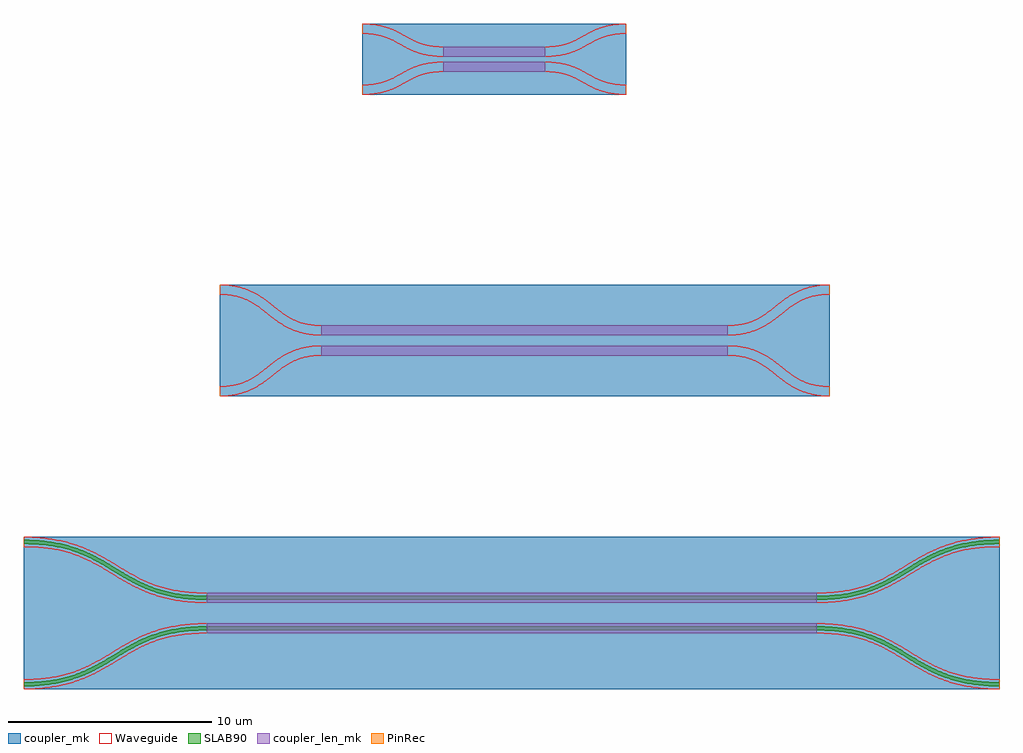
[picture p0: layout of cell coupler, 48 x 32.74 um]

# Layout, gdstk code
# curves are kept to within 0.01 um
import gdstk
lib = gdstk.Library(unit=1e-6, precision=1e-09)
def R(c, l, rs):  # rectangles x0, y0, x1, y1
    for r in rs: c.add(gdstk.rectangle(r[:2], r[2:], *l))
def P(c, l, *ps):  # polygons
    for p in ps: c.add(gdstk.Polygon(p, *l))
Waveguide = (1, 0)
coupler_mk = (1, 6)
coupler_len_mk = (1, 7)
PinRec = (1, 10)
SLAB90 = (3, 0)

coupler_1 = lib.new_cell('coupler$1')
R(coupler_1, Waveguide, [(0,-0.25,20,0.25), (0,-0.25,20,0.25), (0,-0.25,20,0.25), (0,-0.25,20,0.25), (0,0.75,20,1.25), (0,0.75,20,1.25), (0,0.75,20,1.25), (0,0.75,20,1.25)])
P(coupler_1, Waveguide, [(-5,-2.25),(-5,-1.75),(-4.658,-1.736),(-4.296,-1.685),(-3.975,-1.602),(-3.646,-1.473),(-3.39,-1.337),(-3.152,-1.184),(-2.342,-0.558),(-2.045,-0.346),(-1.72,-0.151),(-1.406,-0.004),(-1.058,0.115),(-0.736,0.188),(-0.386,0.234),(0,0.25),(0,-0.25),(-0.342,-0.264),(-0.704,-0.315),(-1.025,-0.398),(-1.354,-0.527),(-1.61,-0.663),(-1.848,-0.816),(-2.658,-1.442),(-2.955,-1.654),(-3.28,-1.849),(-3.594,-1.996),(-3.942,-2.115),(-4.264,-2.188),(-4.614,-2.234)],
  [(0,0.75),(-0.386,0.766),(-0.736,0.812),(-1.058,0.885),(-1.406,1.004),(-1.72,1.151),(-2.045,1.346),(-2.342,1.558),(-3.152,2.184),(-3.39,2.337),(-3.646,2.473),(-3.975,2.602),(-4.296,2.685),(-4.658,2.736),(-5,2.75),(-5,3.25),(-4.614,3.234),(-4.264,3.188),(-3.942,3.115),(-3.594,2.996),(-3.28,2.849),(-2.955,2.654),(-2.658,2.442),(-1.848,1.816),(-1.61,1.663),(-1.354,1.527),(-1.025,1.398),(-0.704,1.315),(-0.342,1.264),(0,1.25)],
  [(20,0.75),(20,1.25),(20.342,1.264),(20.704,1.315),(21.025,1.398),(21.354,1.527),(21.61,1.663),(21.848,1.816),(22.658,2.442),(22.955,2.654),(23.28,2.849),(23.594,2.996),(23.942,3.115),(24.264,3.188),(24.614,3.234),(25,3.25),(25,2.75),(24.658,2.736),(24.296,2.685),(23.975,2.602),(23.646,2.473),(23.39,2.337),(23.152,2.184),(22.342,1.558),(22.045,1.346),(21.72,1.151),(21.406,1.004),(21.058,0.885),(20.736,0.812),(20.386,0.766)],
  [(25,-2.25),(24.614,-2.234),(24.264,-2.188),(23.942,-2.115),(23.594,-1.996),(23.28,-1.849),(22.955,-1.654),(22.658,-1.442),(21.848,-0.816),(21.61,-0.663),(21.354,-0.527),(21.025,-0.398),(20.704,-0.315),(20.342,-0.264),(20,-0.25),(20,0.25),(20.386,0.234),(20.736,0.188),(21.058,0.115),(21.406,-0.004),(21.72,-0.151),(22.045,-0.346),(22.342,-0.558),(23.152,-1.184),(23.39,-1.337),(23.646,-1.473),(23.975,-1.602),(24.296,-1.685),(24.658,-1.736),(25,-1.75)],
  [(-5,-2.25),(-5,-1.75),(-4.658,-1.736),(-4.296,-1.685),(-3.975,-1.602),(-3.646,-1.473),(-3.39,-1.337),(-3.152,-1.184),(-2.342,-0.558),(-2.045,-0.346),(-1.72,-0.151),(-1.406,-0.004),(-1.058,0.115),(-0.736,0.188),(-0.386,0.234),(0,0.25),(0,-0.25),(-0.342,-0.264),(-0.704,-0.315),(-1.025,-0.398),(-1.354,-0.527),(-1.61,-0.663),(-1.848,-0.816),(-2.658,-1.442),(-2.955,-1.654),(-3.28,-1.849),(-3.594,-1.996),(-3.942,-2.115),(-4.264,-2.188),(-4.614,-2.234)],
  [(0,0.75),(-0.386,0.766),(-0.736,0.812),(-1.058,0.885),(-1.406,1.004),(-1.72,1.151),(-2.045,1.346),(-2.342,1.558),(-3.152,2.184),(-3.39,2.337),(-3.646,2.473),(-3.975,2.602),(-4.296,2.685),(-4.658,2.736),(-5,2.75),(-5,3.25),(-4.614,3.234),(-4.264,3.188),(-3.942,3.115),(-3.594,2.996),(-3.28,2.849),(-2.955,2.654),(-2.658,2.442),(-1.848,1.816),(-1.61,1.663),(-1.354,1.527),(-1.025,1.398),(-0.704,1.315),(-0.342,1.264),(0,1.25)],
  [(20,0.75),(20,1.25),(20.342,1.264),(20.704,1.315),(21.025,1.398),(21.354,1.527),(21.61,1.663),(21.848,1.816),(22.658,2.442),(22.955,2.654),(23.28,2.849),(23.594,2.996),(23.942,3.115),(24.264,3.188),(24.614,3.234),(25,3.25),(25,2.75),(24.658,2.736),(24.296,2.685),(23.975,2.602),(23.646,2.473),(23.39,2.337),(23.152,2.184),(22.342,1.558),(22.045,1.346),(21.72,1.151),(21.406,1.004),(21.058,0.885),(20.736,0.812),(20.386,0.766)],
  [(25,-2.25),(24.614,-2.234),(24.264,-2.188),(23.942,-2.115),(23.594,-1.996),(23.28,-1.849),(22.955,-1.654),(22.658,-1.442),(21.848,-0.816),(21.61,-0.663),(21.354,-0.527),(21.025,-0.398),(20.704,-0.315),(20.342,-0.264),(20,-0.25),(20,0.25),(20.386,0.234),(20.736,0.188),(21.058,0.115),(21.406,-0.004),(21.72,-0.151),(22.045,-0.346),(22.342,-0.558),(23.152,-1.184),(23.39,-1.337),(23.646,-1.473),(23.975,-1.602),(24.296,-1.685),(24.658,-1.736),(25,-1.75)],
  [(-5,-2.25),(-5,-1.75),(-4.658,-1.736),(-4.296,-1.685),(-3.975,-1.602),(-3.646,-1.473),(-3.39,-1.337),(-3.152,-1.184),(-2.342,-0.558),(-2.045,-0.346),(-1.72,-0.151),(-1.406,-0.004),(-1.058,0.115),(-0.736,0.188),(-0.386,0.234),(0,0.25),(0,-0.25),(-0.342,-0.264),(-0.704,-0.315),(-1.025,-0.398),(-1.354,-0.527),(-1.61,-0.663),(-1.848,-0.816),(-2.658,-1.442),(-2.955,-1.654),(-3.28,-1.849),(-3.594,-1.996),(-3.942,-2.115),(-4.264,-2.188),(-4.614,-2.234)],
  [(0,0.75),(-0.386,0.766),(-0.736,0.812),(-1.058,0.885),(-1.406,1.004),(-1.72,1.151),(-2.045,1.346),(-2.342,1.558),(-3.152,2.184),(-3.39,2.337),(-3.646,2.473),(-3.975,2.602),(-4.296,2.685),(-4.658,2.736),(-5,2.75),(-5,3.25),(-4.614,3.234),(-4.264,3.188),(-3.942,3.115),(-3.594,2.996),(-3.28,2.849),(-2.955,2.654),(-2.658,2.442),(-1.848,1.816),(-1.61,1.663),(-1.354,1.527),(-1.025,1.398),(-0.704,1.315),(-0.342,1.264),(0,1.25)],
  [(20,0.75),(20,1.25),(20.342,1.264),(20.704,1.315),(21.025,1.398),(21.354,1.527),(21.61,1.663),(21.848,1.816),(22.658,2.442),(22.955,2.654),(23.28,2.849),(23.594,2.996),(23.942,3.115),(24.264,3.188),(24.614,3.234),(25,3.25),(25,2.75),(24.658,2.736),(24.296,2.685),(23.975,2.602),(23.646,2.473),(23.39,2.337),(23.152,2.184),(22.342,1.558),(22.045,1.346),(21.72,1.151),(21.406,1.004),(21.058,0.885),(20.736,0.812),(20.386,0.766)],
  [(25,-2.25),(24.614,-2.234),(24.264,-2.188),(23.942,-2.115),(23.594,-1.996),(23.28,-1.849),(22.955,-1.654),(22.658,-1.442),(21.848,-0.816),(21.61,-0.663),(21.354,-0.527),(21.025,-0.398),(20.704,-0.315),(20.342,-0.264),(20,-0.25),(20,0.25),(20.386,0.234),(20.736,0.188),(21.058,0.115),(21.406,-0.004),(21.72,-0.151),(22.045,-0.346),(22.342,-0.558),(23.152,-1.184),(23.39,-1.337),(23.646,-1.473),(23.975,-1.602),(24.296,-1.685),(24.658,-1.736),(25,-1.75)],
  [(-5,-2.25),(-5,-1.75),(-4.658,-1.736),(-4.296,-1.685),(-3.975,-1.602),(-3.646,-1.473),(-3.39,-1.337),(-3.152,-1.184),(-2.342,-0.558),(-2.045,-0.346),(-1.72,-0.151),(-1.406,-0.004),(-1.058,0.115),(-0.736,0.188),(-0.386,0.234),(0,0.25),(0,-0.25),(-0.342,-0.264),(-0.704,-0.315),(-1.025,-0.398),(-1.354,-0.527),(-1.61,-0.663),(-1.848,-0.816),(-2.658,-1.442),(-2.955,-1.654),(-3.28,-1.849),(-3.594,-1.996),(-3.942,-2.115),(-4.264,-2.188),(-4.614,-2.234)],
  [(0,0.75),(-0.386,0.766),(-0.736,0.812),(-1.058,0.885),(-1.406,1.004),(-1.72,1.151),(-2.045,1.346),(-2.342,1.558),(-3.152,2.184),(-3.39,2.337),(-3.646,2.473),(-3.975,2.602),(-4.296,2.685),(-4.658,2.736),(-5,2.75),(-5,3.25),(-4.614,3.234),(-4.264,3.188),(-3.942,3.115),(-3.594,2.996),(-3.28,2.849),(-2.955,2.654),(-2.658,2.442),(-1.848,1.816),(-1.61,1.663),(-1.354,1.527),(-1.025,1.398),(-0.704,1.315),(-0.342,1.264),(0,1.25)],
  [(20,0.75),(20,1.25),(20.342,1.264),(20.704,1.315),(21.025,1.398),(21.354,1.527),(21.61,1.663),(21.848,1.816),(22.658,2.442),(22.955,2.654),(23.28,2.849),(23.594,2.996),(23.942,3.115),(24.264,3.188),(24.614,3.234),(25,3.25),(25,2.75),(24.658,2.736),(24.296,2.685),(23.975,2.602),(23.646,2.473),(23.39,2.337),(23.152,2.184),(22.342,1.558),(22.045,1.346),(21.72,1.151),(21.406,1.004),(21.058,0.885),(20.736,0.812),(20.386,0.766)],
  [(25,-2.25),(24.614,-2.234),(24.264,-2.188),(23.942,-2.115),(23.594,-1.996),(23.28,-1.849),(22.955,-1.654),(22.658,-1.442),(21.848,-0.816),(21.61,-0.663),(21.354,-0.527),(21.025,-0.398),(20.704,-0.315),(20.342,-0.264),(20,-0.25),(20,0.25),(20.386,0.234),(20.736,0.188),(21.058,0.115),(21.406,-0.004),(21.72,-0.151),(22.045,-0.346),(22.342,-0.558),(23.152,-1.184),(23.39,-1.337),(23.646,-1.473),(23.975,-1.602),(24.296,-1.685),(24.658,-1.736),(25,-1.75)])
R(coupler_1, coupler_mk, [(-5,-2.25,25,3.25)])
R(coupler_1, coupler_len_mk, [(0,-0.25,20,0.25), (0,0.75,20,1.25)])
R(coupler_1, PinRec, [(-5,-2.25,-4.98,-1.75), (24.98,-2.25,25,-1.75), (-5,2.75,-4.98,3.25), (24.98,2.75,25,3.25)])

coupler_2 = lib.new_cell('coupler$2')
R(coupler_2, Waveguide, [(0,-0.25,5,0.25), (0,-0.25,5,0.25), (0,-0.25,5,0.25), (0,-0.25,5,0.25), (0,0.5,5,1), (0,0.5,5,1), (0,0.5,5,1), (0,0.5,5,1)])
P(coupler_2, Waveguide, [(-4,-1.375),(-4,-0.875),(-3.672,-0.864),(-3.387,-0.832),(-2.908,-0.718),(-2.517,-0.557),(-1.631,-0.085),(-1.367,0.026),(-1.076,0.12),(-0.637,0.209),(-0.307,0.242),(0,0.25),(0,-0.25),(-0.328,-0.261),(-0.613,-0.293),(-1.092,-0.407),(-1.483,-0.568),(-2.369,-1.04),(-2.633,-1.151),(-2.924,-1.245),(-3.363,-1.334),(-3.693,-1.367)],
  [(-0.063,0.5),(-0.637,0.541),(-1.076,0.63),(-1.367,0.724),(-1.631,0.835),(-2.517,1.307),(-2.908,1.468),(-3.387,1.582),(-3.672,1.614),(-4,1.625),(-4,2.125),(-3.693,2.117),(-3.363,2.084),(-2.924,1.995),(-2.633,1.901),(-2.369,1.79),(-1.483,1.318),(-1.092,1.157),(-0.613,1.043),(-0.328,1.011),(0,1),(0,0.5)],
  [(5,0.5),(5,1),(5.328,1.011),(5.613,1.043),(6.092,1.157),(6.483,1.318),(7.369,1.79),(7.633,1.901),(7.924,1.995),(8.363,2.084),(8.693,2.117),(9,2.125),(9,1.625),(8.672,1.614),(8.387,1.582),(7.908,1.468),(7.517,1.307),(6.631,0.835),(6.367,0.724),(6.076,0.63),(5.637,0.541),(5.307,0.508)],
  [(8.937,-1.375),(8.363,-1.334),(7.924,-1.245),(7.633,-1.151),(7.369,-1.04),(6.483,-0.568),(6.092,-0.407),(5.613,-0.293),(5.328,-0.261),(5,-0.25),(5,0.25),(5.307,0.242),(5.637,0.209),(6.076,0.12),(6.367,0.026),(6.631,-0.085),(7.517,-0.557),(7.908,-0.718),(8.387,-0.832),(8.672,-0.864),(9,-0.875),(9,-1.375)],
  [(-4,-1.375),(-4,-0.875),(-3.672,-0.864),(-3.387,-0.832),(-2.908,-0.718),(-2.517,-0.557),(-1.631,-0.085),(-1.367,0.026),(-1.076,0.12),(-0.637,0.209),(-0.307,0.242),(0,0.25),(0,-0.25),(-0.328,-0.261),(-0.613,-0.293),(-1.092,-0.407),(-1.483,-0.568),(-2.369,-1.04),(-2.633,-1.151),(-2.924,-1.245),(-3.363,-1.334),(-3.693,-1.367)],
  [(-0.063,0.5),(-0.637,0.541),(-1.076,0.63),(-1.367,0.724),(-1.631,0.835),(-2.517,1.307),(-2.908,1.468),(-3.387,1.582),(-3.672,1.614),(-4,1.625),(-4,2.125),(-3.693,2.117),(-3.363,2.084),(-2.924,1.995),(-2.633,1.901),(-2.369,1.79),(-1.483,1.318),(-1.092,1.157),(-0.613,1.043),(-0.328,1.011),(0,1),(0,0.5)],
  [(5,0.5),(5,1),(5.328,1.011),(5.613,1.043),(6.092,1.157),(6.483,1.318),(7.369,1.79),(7.633,1.901),(7.924,1.995),(8.363,2.084),(8.693,2.117),(9,2.125),(9,1.625),(8.672,1.614),(8.387,1.582),(7.908,1.468),(7.517,1.307),(6.631,0.835),(6.367,0.724),(6.076,0.63),(5.637,0.541),(5.307,0.508)],
  [(8.937,-1.375),(8.363,-1.334),(7.924,-1.245),(7.633,-1.151),(7.369,-1.04),(6.483,-0.568),(6.092,-0.407),(5.613,-0.293),(5.328,-0.261),(5,-0.25),(5,0.25),(5.307,0.242),(5.637,0.209),(6.076,0.12),(6.367,0.026),(6.631,-0.085),(7.517,-0.557),(7.908,-0.718),(8.387,-0.832),(8.672,-0.864),(9,-0.875),(9,-1.375)],
  [(-4,-1.375),(-4,-0.875),(-3.672,-0.864),(-3.387,-0.832),(-2.908,-0.718),(-2.517,-0.557),(-1.631,-0.085),(-1.367,0.026),(-1.076,0.12),(-0.637,0.209),(-0.307,0.242),(0,0.25),(0,-0.25),(-0.328,-0.261),(-0.613,-0.293),(-1.092,-0.407),(-1.483,-0.568),(-2.369,-1.04),(-2.633,-1.151),(-2.924,-1.245),(-3.363,-1.334),(-3.693,-1.367)],
  [(-0.063,0.5),(-0.637,0.541),(-1.076,0.63),(-1.367,0.724),(-1.631,0.835),(-2.517,1.307),(-2.908,1.468),(-3.387,1.582),(-3.672,1.614),(-4,1.625),(-4,2.125),(-3.693,2.117),(-3.363,2.084),(-2.924,1.995),(-2.633,1.901),(-2.369,1.79),(-1.483,1.318),(-1.092,1.157),(-0.613,1.043),(-0.328,1.011),(0,1),(0,0.5)],
  [(5,0.5),(5,1),(5.328,1.011),(5.613,1.043),(6.092,1.157),(6.483,1.318),(7.369,1.79),(7.633,1.901),(7.924,1.995),(8.363,2.084),(8.693,2.117),(9,2.125),(9,1.625),(8.672,1.614),(8.387,1.582),(7.908,1.468),(7.517,1.307),(6.631,0.835),(6.367,0.724),(6.076,0.63),(5.637,0.541),(5.307,0.508)],
  [(8.937,-1.375),(8.363,-1.334),(7.924,-1.245),(7.633,-1.151),(7.369,-1.04),(6.483,-0.568),(6.092,-0.407),(5.613,-0.293),(5.328,-0.261),(5,-0.25),(5,0.25),(5.307,0.242),(5.637,0.209),(6.076,0.12),(6.367,0.026),(6.631,-0.085),(7.517,-0.557),(7.908,-0.718),(8.387,-0.832),(8.672,-0.864),(9,-0.875),(9,-1.375)],
  [(-4,-1.375),(-4,-0.875),(-3.672,-0.864),(-3.387,-0.832),(-2.908,-0.718),(-2.517,-0.557),(-1.631,-0.085),(-1.367,0.026),(-1.076,0.12),(-0.637,0.209),(-0.307,0.242),(0,0.25),(0,-0.25),(-0.328,-0.261),(-0.613,-0.293),(-1.092,-0.407),(-1.483,-0.568),(-2.369,-1.04),(-2.633,-1.151),(-2.924,-1.245),(-3.363,-1.334),(-3.693,-1.367)],
  [(-0.063,0.5),(-0.637,0.541),(-1.076,0.63),(-1.367,0.724),(-1.631,0.835),(-2.517,1.307),(-2.908,1.468),(-3.387,1.582),(-3.672,1.614),(-4,1.625),(-4,2.125),(-3.693,2.117),(-3.363,2.084),(-2.924,1.995),(-2.633,1.901),(-2.369,1.79),(-1.483,1.318),(-1.092,1.157),(-0.613,1.043),(-0.328,1.011),(0,1),(0,0.5)],
  [(5,0.5),(5,1),(5.328,1.011),(5.613,1.043),(6.092,1.157),(6.483,1.318),(7.369,1.79),(7.633,1.901),(7.924,1.995),(8.363,2.084),(8.693,2.117),(9,2.125),(9,1.625),(8.672,1.614),(8.387,1.582),(7.908,1.468),(7.517,1.307),(6.631,0.835),(6.367,0.724),(6.076,0.63),(5.637,0.541),(5.307,0.508)],
  [(8.937,-1.375),(8.363,-1.334),(7.924,-1.245),(7.633,-1.151),(7.369,-1.04),(6.483,-0.568),(6.092,-0.407),(5.613,-0.293),(5.328,-0.261),(5,-0.25),(5,0.25),(5.307,0.242),(5.637,0.209),(6.076,0.12),(6.367,0.026),(6.631,-0.085),(7.517,-0.557),(7.908,-0.718),(8.387,-0.832),(8.672,-0.864),(9,-0.875),(9,-1.375)])
R(coupler_2, coupler_mk, [(-4,-1.375,9,2.125)])
R(coupler_2, coupler_len_mk, [(0,-0.25,5,0.25), (0,0.5,5,1)])
R(coupler_2, PinRec, [(-4,-1.375,-3.98,-0.875), (8.98,-1.375,9,-0.875), (-4,1.625,-3.98,2.125), (8.98,1.625,9,2.125)])

coupler_4 = lib.new_cell('coupler$4')
R(coupler_4, Waveguide, [(0,-0.25,30,0.25), (0,-0.25,30,0.25), (0,-0.25,30,0.25), (0,-0.25,30,0.25), (0,1.25,30,1.75), (0,1.25,30,1.75), (0,1.25,30,1.75), (0,1.25,30,1.75)])
P(coupler_4, Waveguide, [(-9,-3),(-9,-2.5),(-8.362,-2.48),(-7.68,-2.407),(-6.983,-2.264),(-6.456,-2.101),(-5.976,-1.907),(-5.462,-1.65),(-4.142,-0.867),(-3.549,-0.541),(-3.146,-0.351),(-2.714,-0.179),(-2.143,-0.002),(-1.396,0.151),(-0.672,0.228),(0,0.25),(0,-0.25),(-0.638,-0.27),(-1.32,-0.343),(-2.017,-0.486),(-2.544,-0.649),(-3.024,-0.843),(-3.538,-1.1),(-4.858,-1.883),(-5.451,-2.209),(-5.854,-2.399),(-6.286,-2.571),(-6.857,-2.748),(-7.604,-2.901),(-8.328,-2.978)],
  [(0,1.25),(-0.672,1.272),(-1.396,1.349),(-2.143,1.502),(-2.714,1.679),(-3.146,1.851),(-3.549,2.041),(-4.142,2.367),(-5.462,3.15),(-5.976,3.407),(-6.456,3.601),(-6.983,3.764),(-7.68,3.907),(-8.362,3.98),(-9,4),(-9,4.5),(-8.328,4.478),(-7.604,4.401),(-6.857,4.248),(-6.286,4.071),(-5.854,3.899),(-5.451,3.709),(-4.858,3.383),(-3.538,2.6),(-3.024,2.343),(-2.544,2.149),(-2.017,1.986),(-1.32,1.843),(-0.638,1.77),(0,1.75)],
  [(30,1.25),(30,1.75),(30.638,1.77),(31.32,1.843),(32.017,1.986),(32.544,2.149),(33.024,2.343),(33.538,2.6),(34.858,3.383),(35.451,3.709),(35.854,3.899),(36.286,4.071),(36.857,4.248),(37.604,4.401),(38.328,4.478),(39,4.5),(39,4),(38.362,3.98),(37.68,3.907),(36.983,3.764),(36.456,3.601),(35.976,3.407),(35.462,3.15),(34.142,2.367),(33.549,2.041),(33.146,1.851),(32.714,1.679),(32.143,1.502),(31.396,1.349),(30.672,1.272)],
  [(39,-3),(38.328,-2.978),(37.604,-2.901),(36.857,-2.748),(36.286,-2.571),(35.854,-2.399),(35.451,-2.209),(34.858,-1.883),(33.538,-1.1),(33.024,-0.843),(32.544,-0.649),(32.017,-0.486),(31.32,-0.343),(30.638,-0.27),(30,-0.25),(30,0.25),(30.672,0.228),(31.396,0.151),(32.143,-0.002),(32.714,-0.179),(33.146,-0.351),(33.549,-0.541),(34.142,-0.867),(35.462,-1.65),(35.976,-1.907),(36.456,-2.101),(36.983,-2.264),(37.68,-2.407),(38.362,-2.48),(39,-2.5)],
  [(-9,-3),(-9,-2.5),(-8.362,-2.48),(-7.68,-2.407),(-6.983,-2.264),(-6.456,-2.101),(-5.976,-1.907),(-5.462,-1.65),(-4.142,-0.867),(-3.549,-0.541),(-3.146,-0.351),(-2.714,-0.179),(-2.143,-0.002),(-1.396,0.151),(-0.672,0.228),(0,0.25),(0,-0.25),(-0.638,-0.27),(-1.32,-0.343),(-2.017,-0.486),(-2.544,-0.649),(-3.024,-0.843),(-3.538,-1.1),(-4.858,-1.883),(-5.451,-2.209),(-5.854,-2.399),(-6.286,-2.571),(-6.857,-2.748),(-7.604,-2.901),(-8.328,-2.978)],
  [(0,1.25),(-0.672,1.272),(-1.396,1.349),(-2.143,1.502),(-2.714,1.679),(-3.146,1.851),(-3.549,2.041),(-4.142,2.367),(-5.462,3.15),(-5.976,3.407),(-6.456,3.601),(-6.983,3.764),(-7.68,3.907),(-8.362,3.98),(-9,4),(-9,4.5),(-8.328,4.478),(-7.604,4.401),(-6.857,4.248),(-6.286,4.071),(-5.854,3.899),(-5.451,3.709),(-4.858,3.383),(-3.538,2.6),(-3.024,2.343),(-2.544,2.149),(-2.017,1.986),(-1.32,1.843),(-0.638,1.77),(0,1.75)],
  [(30,1.25),(30,1.75),(30.638,1.77),(31.32,1.843),(32.017,1.986),(32.544,2.149),(33.024,2.343),(33.538,2.6),(34.858,3.383),(35.451,3.709),(35.854,3.899),(36.286,4.071),(36.857,4.248),(37.604,4.401),(38.328,4.478),(39,4.5),(39,4),(38.362,3.98),(37.68,3.907),(36.983,3.764),(36.456,3.601),(35.976,3.407),(35.462,3.15),(34.142,2.367),(33.549,2.041),(33.146,1.851),(32.714,1.679),(32.143,1.502),(31.396,1.349),(30.672,1.272)],
  [(39,-3),(38.328,-2.978),(37.604,-2.901),(36.857,-2.748),(36.286,-2.571),(35.854,-2.399),(35.451,-2.209),(34.858,-1.883),(33.538,-1.1),(33.024,-0.843),(32.544,-0.649),(32.017,-0.486),(31.32,-0.343),(30.638,-0.27),(30,-0.25),(30,0.25),(30.672,0.228),(31.396,0.151),(32.143,-0.002),(32.714,-0.179),(33.146,-0.351),(33.549,-0.541),(34.142,-0.867),(35.462,-1.65),(35.976,-1.907),(36.456,-2.101),(36.983,-2.264),(37.68,-2.407),(38.362,-2.48),(39,-2.5)],
  [(-9,-3),(-9,-2.5),(-8.362,-2.48),(-7.68,-2.407),(-6.983,-2.264),(-6.456,-2.101),(-5.976,-1.907),(-5.462,-1.65),(-4.142,-0.867),(-3.549,-0.541),(-3.146,-0.351),(-2.714,-0.179),(-2.143,-0.002),(-1.396,0.151),(-0.672,0.228),(0,0.25),(0,-0.25),(-0.638,-0.27),(-1.32,-0.343),(-2.017,-0.486),(-2.544,-0.649),(-3.024,-0.843),(-3.538,-1.1),(-4.858,-1.883),(-5.451,-2.209),(-5.854,-2.399),(-6.286,-2.571),(-6.857,-2.748),(-7.604,-2.901),(-8.328,-2.978)],
  [(0,1.25),(-0.672,1.272),(-1.396,1.349),(-2.143,1.502),(-2.714,1.679),(-3.146,1.851),(-3.549,2.041),(-4.142,2.367),(-5.462,3.15),(-5.976,3.407),(-6.456,3.601),(-6.983,3.764),(-7.68,3.907),(-8.362,3.98),(-9,4),(-9,4.5),(-8.328,4.478),(-7.604,4.401),(-6.857,4.248),(-6.286,4.071),(-5.854,3.899),(-5.451,3.709),(-4.858,3.383),(-3.538,2.6),(-3.024,2.343),(-2.544,2.149),(-2.017,1.986),(-1.32,1.843),(-0.638,1.77),(0,1.75)],
  [(30,1.25),(30,1.75),(30.638,1.77),(31.32,1.843),(32.017,1.986),(32.544,2.149),(33.024,2.343),(33.538,2.6),(34.858,3.383),(35.451,3.709),(35.854,3.899),(36.286,4.071),(36.857,4.248),(37.604,4.401),(38.328,4.478),(39,4.5),(39,4),(38.362,3.98),(37.68,3.907),(36.983,3.764),(36.456,3.601),(35.976,3.407),(35.462,3.15),(34.142,2.367),(33.549,2.041),(33.146,1.851),(32.714,1.679),(32.143,1.502),(31.396,1.349),(30.672,1.272)],
  [(39,-3),(38.328,-2.978),(37.604,-2.901),(36.857,-2.748),(36.286,-2.571),(35.854,-2.399),(35.451,-2.209),(34.858,-1.883),(33.538,-1.1),(33.024,-0.843),(32.544,-0.649),(32.017,-0.486),(31.32,-0.343),(30.638,-0.27),(30,-0.25),(30,0.25),(30.672,0.228),(31.396,0.151),(32.143,-0.002),(32.714,-0.179),(33.146,-0.351),(33.549,-0.541),(34.142,-0.867),(35.462,-1.65),(35.976,-1.907),(36.456,-2.101),(36.983,-2.264),(37.68,-2.407),(38.362,-2.48),(39,-2.5)],
  [(-9,-3),(-9,-2.5),(-8.362,-2.48),(-7.68,-2.407),(-6.983,-2.264),(-6.456,-2.101),(-5.976,-1.907),(-5.462,-1.65),(-4.142,-0.867),(-3.549,-0.541),(-3.146,-0.351),(-2.714,-0.179),(-2.143,-0.002),(-1.396,0.151),(-0.672,0.228),(0,0.25),(0,-0.25),(-0.638,-0.27),(-1.32,-0.343),(-2.017,-0.486),(-2.544,-0.649),(-3.024,-0.843),(-3.538,-1.1),(-4.858,-1.883),(-5.451,-2.209),(-5.854,-2.399),(-6.286,-2.571),(-6.857,-2.748),(-7.604,-2.901),(-8.328,-2.978)],
  [(0,1.25),(-0.672,1.272),(-1.396,1.349),(-2.143,1.502),(-2.714,1.679),(-3.146,1.851),(-3.549,2.041),(-4.142,2.367),(-5.462,3.15),(-5.976,3.407),(-6.456,3.601),(-6.983,3.764),(-7.68,3.907),(-8.362,3.98),(-9,4),(-9,4.5),(-8.328,4.478),(-7.604,4.401),(-6.857,4.248),(-6.286,4.071),(-5.854,3.899),(-5.451,3.709),(-4.858,3.383),(-3.538,2.6),(-3.024,2.343),(-2.544,2.149),(-2.017,1.986),(-1.32,1.843),(-0.638,1.77),(0,1.75)],
  [(30,1.25),(30,1.75),(30.638,1.77),(31.32,1.843),(32.017,1.986),(32.544,2.149),(33.024,2.343),(33.538,2.6),(34.858,3.383),(35.451,3.709),(35.854,3.899),(36.286,4.071),(36.857,4.248),(37.604,4.401),(38.328,4.478),(39,4.5),(39,4),(38.362,3.98),(37.68,3.907),(36.983,3.764),(36.456,3.601),(35.976,3.407),(35.462,3.15),(34.142,2.367),(33.549,2.041),(33.146,1.851),(32.714,1.679),(32.143,1.502),(31.396,1.349),(30.672,1.272)],
  [(39,-3),(38.328,-2.978),(37.604,-2.901),(36.857,-2.748),(36.286,-2.571),(35.854,-2.399),(35.451,-2.209),(34.858,-1.883),(33.538,-1.1),(33.024,-0.843),(32.544,-0.649),(32.017,-0.486),(31.32,-0.343),(30.638,-0.27),(30,-0.25),(30,0.25),(30.672,0.228),(31.396,0.151),(32.143,-0.002),(32.714,-0.179),(33.146,-0.351),(33.549,-0.541),(34.142,-0.867),(35.462,-1.65),(35.976,-1.907),(36.456,-2.101),(36.983,-2.264),(37.68,-2.407),(38.362,-2.48),(39,-2.5)])
R(coupler_4, coupler_mk, [(-9,-3,39,4.5)])
R(coupler_4, coupler_len_mk, [(0,-0.25,30,0.25), (0,-0.1,30,0.1), (0,1.25,30,1.75), (0,1.4,30,1.6)])
R(coupler_4, PinRec, [(-9,-3,-8.98,-2.5), (38.98,-3,39,-2.5), (-9,4,-8.98,4.5), (38.98,4,39,4.5)])
R(coupler_4, SLAB90, [(0,-0.1,30,0.1), (0,-0.1,30,0.1), (0,-0.1,30,0.1), (0,-0.1,30,0.1), (0,1.4,30,1.6), (0,1.4,30,1.6), (0,1.4,30,1.6), (0,1.4,30,1.6)])
P(coupler_4, SLAB90, [(-9,-2.85),(-9,-2.65),(-8.476,-2.637),(-8.11,-2.61),(-7.444,-2.52),(-6.852,-2.384),(-6.491,-2.272),(-6.154,-2.146),(-5.685,-1.935),(-5.247,-1.703),(-3.994,-0.954),(-3.481,-0.674),(-3.004,-0.453),(-2.573,-0.288),(-2.007,-0.123),(-1.373,0.003),(-0.662,0.079),(0,0.1),(0,-0.1),(-0.524,-0.113),(-0.89,-0.14),(-1.556,-0.23),(-2.148,-0.366),(-2.509,-0.478),(-2.846,-0.604),(-3.315,-0.815),(-3.753,-1.047),(-5.006,-1.796),(-5.519,-2.076),(-5.996,-2.297),(-6.427,-2.462),(-6.993,-2.627),(-7.627,-2.753),(-8.338,-2.829)],
  [(0,1.4),(-0.662,1.421),(-1.373,1.497),(-2.007,1.623),(-2.573,1.788),(-3.004,1.953),(-3.481,2.174),(-3.994,2.454),(-5.247,3.203),(-5.685,3.435),(-6.154,3.646),(-6.491,3.772),(-6.852,3.884),(-7.444,4.02),(-8.11,4.11),(-8.476,4.137),(-9,4.15),(-9,4.35),(-8.338,4.329),(-7.627,4.253),(-6.993,4.127),(-6.427,3.962),(-5.996,3.797),(-5.519,3.576),(-5.006,3.296),(-3.753,2.547),(-3.315,2.315),(-2.846,2.104),(-2.509,1.978),(-2.148,1.866),(-1.556,1.73),(-0.89,1.64),(-0.524,1.613),(0,1.6)],
  [(30,1.4),(30,1.6),(30.524,1.613),(30.89,1.64),(31.556,1.73),(32.148,1.866),(32.509,1.978),(32.846,2.104),(33.315,2.315),(33.753,2.547),(35.006,3.296),(35.519,3.576),(35.996,3.797),(36.427,3.962),(36.993,4.127),(37.627,4.253),(38.338,4.329),(39,4.35),(39,4.15),(38.476,4.137),(38.11,4.11),(37.444,4.02),(36.852,3.884),(36.491,3.772),(36.154,3.646),(35.685,3.435),(35.247,3.203),(33.994,2.454),(33.481,2.174),(33.004,1.953),(32.573,1.788),(32.007,1.623),(31.373,1.497),(30.662,1.421)],
  [(39,-2.85),(38.338,-2.829),(37.627,-2.753),(36.993,-2.627),(36.427,-2.462),(35.996,-2.297),(35.519,-2.076),(35.006,-1.796),(33.753,-1.047),(33.315,-0.815),(32.846,-0.604),(32.509,-0.478),(32.148,-0.366),(31.556,-0.23),(30.89,-0.14),(30.524,-0.113),(30,-0.1),(30,0.1),(30.662,0.079),(31.373,0.003),(32.007,-0.123),(32.573,-0.288),(33.004,-0.453),(33.481,-0.674),(33.994,-0.954),(35.247,-1.703),(35.685,-1.935),(36.154,-2.146),(36.491,-2.272),(36.852,-2.384),(37.444,-2.52),(38.11,-2.61),(38.476,-2.637),(39,-2.65)],
  [(-9,-2.85),(-9,-2.65),(-8.476,-2.637),(-8.11,-2.61),(-7.444,-2.52),(-6.852,-2.384),(-6.491,-2.272),(-6.154,-2.146),(-5.685,-1.935),(-5.247,-1.703),(-3.994,-0.954),(-3.481,-0.674),(-3.004,-0.453),(-2.573,-0.288),(-2.007,-0.123),(-1.373,0.003),(-0.662,0.079),(0,0.1),(0,-0.1),(-0.524,-0.113),(-0.89,-0.14),(-1.556,-0.23),(-2.148,-0.366),(-2.509,-0.478),(-2.846,-0.604),(-3.315,-0.815),(-3.753,-1.047),(-5.006,-1.796),(-5.519,-2.076),(-5.996,-2.297),(-6.427,-2.462),(-6.993,-2.627),(-7.627,-2.753),(-8.338,-2.829)],
  [(0,1.4),(-0.662,1.421),(-1.373,1.497),(-2.007,1.623),(-2.573,1.788),(-3.004,1.953),(-3.481,2.174),(-3.994,2.454),(-5.247,3.203),(-5.685,3.435),(-6.154,3.646),(-6.491,3.772),(-6.852,3.884),(-7.444,4.02),(-8.11,4.11),(-8.476,4.137),(-9,4.15),(-9,4.35),(-8.338,4.329),(-7.627,4.253),(-6.993,4.127),(-6.427,3.962),(-5.996,3.797),(-5.519,3.576),(-5.006,3.296),(-3.753,2.547),(-3.315,2.315),(-2.846,2.104),(-2.509,1.978),(-2.148,1.866),(-1.556,1.73),(-0.89,1.64),(-0.524,1.613),(0,1.6)],
  [(30,1.4),(30,1.6),(30.524,1.613),(30.89,1.64),(31.556,1.73),(32.148,1.866),(32.509,1.978),(32.846,2.104),(33.315,2.315),(33.753,2.547),(35.006,3.296),(35.519,3.576),(35.996,3.797),(36.427,3.962),(36.993,4.127),(37.627,4.253),(38.338,4.329),(39,4.35),(39,4.15),(38.476,4.137),(38.11,4.11),(37.444,4.02),(36.852,3.884),(36.491,3.772),(36.154,3.646),(35.685,3.435),(35.247,3.203),(33.994,2.454),(33.481,2.174),(33.004,1.953),(32.573,1.788),(32.007,1.623),(31.373,1.497),(30.662,1.421)],
  [(39,-2.85),(38.338,-2.829),(37.627,-2.753),(36.993,-2.627),(36.427,-2.462),(35.996,-2.297),(35.519,-2.076),(35.006,-1.796),(33.753,-1.047),(33.315,-0.815),(32.846,-0.604),(32.509,-0.478),(32.148,-0.366),(31.556,-0.23),(30.89,-0.14),(30.524,-0.113),(30,-0.1),(30,0.1),(30.662,0.079),(31.373,0.003),(32.007,-0.123),(32.573,-0.288),(33.004,-0.453),(33.481,-0.674),(33.994,-0.954),(35.247,-1.703),(35.685,-1.935),(36.154,-2.146),(36.491,-2.272),(36.852,-2.384),(37.444,-2.52),(38.11,-2.61),(38.476,-2.637),(39,-2.65)],
  [(-9,-2.85),(-9,-2.65),(-8.476,-2.637),(-8.11,-2.61),(-7.444,-2.52),(-6.852,-2.384),(-6.491,-2.272),(-6.154,-2.146),(-5.685,-1.935),(-5.247,-1.703),(-3.994,-0.954),(-3.481,-0.674),(-3.004,-0.453),(-2.573,-0.288),(-2.007,-0.123),(-1.373,0.003),(-0.662,0.079),(0,0.1),(0,-0.1),(-0.524,-0.113),(-0.89,-0.14),(-1.556,-0.23),(-2.148,-0.366),(-2.509,-0.478),(-2.846,-0.604),(-3.315,-0.815),(-3.753,-1.047),(-5.006,-1.796),(-5.519,-2.076),(-5.996,-2.297),(-6.427,-2.462),(-6.993,-2.627),(-7.627,-2.753),(-8.338,-2.829)],
  [(0,1.4),(-0.662,1.421),(-1.373,1.497),(-2.007,1.623),(-2.573,1.788),(-3.004,1.953),(-3.481,2.174),(-3.994,2.454),(-5.247,3.203),(-5.685,3.435),(-6.154,3.646),(-6.491,3.772),(-6.852,3.884),(-7.444,4.02),(-8.11,4.11),(-8.476,4.137),(-9,4.15),(-9,4.35),(-8.338,4.329),(-7.627,4.253),(-6.993,4.127),(-6.427,3.962),(-5.996,3.797),(-5.519,3.576),(-5.006,3.296),(-3.753,2.547),(-3.315,2.315),(-2.846,2.104),(-2.509,1.978),(-2.148,1.866),(-1.556,1.73),(-0.89,1.64),(-0.524,1.613),(0,1.6)],
  [(30,1.4),(30,1.6),(30.524,1.613),(30.89,1.64),(31.556,1.73),(32.148,1.866),(32.509,1.978),(32.846,2.104),(33.315,2.315),(33.753,2.547),(35.006,3.296),(35.519,3.576),(35.996,3.797),(36.427,3.962),(36.993,4.127),(37.627,4.253),(38.338,4.329),(39,4.35),(39,4.15),(38.476,4.137),(38.11,4.11),(37.444,4.02),(36.852,3.884),(36.491,3.772),(36.154,3.646),(35.685,3.435),(35.247,3.203),(33.994,2.454),(33.481,2.174),(33.004,1.953),(32.573,1.788),(32.007,1.623),(31.373,1.497),(30.662,1.421)],
  [(39,-2.85),(38.338,-2.829),(37.627,-2.753),(36.993,-2.627),(36.427,-2.462),(35.996,-2.297),(35.519,-2.076),(35.006,-1.796),(33.753,-1.047),(33.315,-0.815),(32.846,-0.604),(32.509,-0.478),(32.148,-0.366),(31.556,-0.23),(30.89,-0.14),(30.524,-0.113),(30,-0.1),(30,0.1),(30.662,0.079),(31.373,0.003),(32.007,-0.123),(32.573,-0.288),(33.004,-0.453),(33.481,-0.674),(33.994,-0.954),(35.247,-1.703),(35.685,-1.935),(36.154,-2.146),(36.491,-2.272),(36.852,-2.384),(37.444,-2.52),(38.11,-2.61),(38.476,-2.637),(39,-2.65)],
  [(-9,-2.85),(-9,-2.65),(-8.476,-2.637),(-8.11,-2.61),(-7.444,-2.52),(-6.852,-2.384),(-6.491,-2.272),(-6.154,-2.146),(-5.685,-1.935),(-5.247,-1.703),(-3.994,-0.954),(-3.481,-0.674),(-3.004,-0.453),(-2.573,-0.288),(-2.007,-0.123),(-1.373,0.003),(-0.662,0.079),(0,0.1),(0,-0.1),(-0.524,-0.113),(-0.89,-0.14),(-1.556,-0.23),(-2.148,-0.366),(-2.509,-0.478),(-2.846,-0.604),(-3.315,-0.815),(-3.753,-1.047),(-5.006,-1.796),(-5.519,-2.076),(-5.996,-2.297),(-6.427,-2.462),(-6.993,-2.627),(-7.627,-2.753),(-8.338,-2.829)],
  [(0,1.4),(-0.662,1.421),(-1.373,1.497),(-2.007,1.623),(-2.573,1.788),(-3.004,1.953),(-3.481,2.174),(-3.994,2.454),(-5.247,3.203),(-5.685,3.435),(-6.154,3.646),(-6.491,3.772),(-6.852,3.884),(-7.444,4.02),(-8.11,4.11),(-8.476,4.137),(-9,4.15),(-9,4.35),(-8.338,4.329),(-7.627,4.253),(-6.993,4.127),(-6.427,3.962),(-5.996,3.797),(-5.519,3.576),(-5.006,3.296),(-3.753,2.547),(-3.315,2.315),(-2.846,2.104),(-2.509,1.978),(-2.148,1.866),(-1.556,1.73),(-0.89,1.64),(-0.524,1.613),(0,1.6)],
  [(30,1.4),(30,1.6),(30.524,1.613),(30.89,1.64),(31.556,1.73),(32.148,1.866),(32.509,1.978),(32.846,2.104),(33.315,2.315),(33.753,2.547),(35.006,3.296),(35.519,3.576),(35.996,3.797),(36.427,3.962),(36.993,4.127),(37.627,4.253),(38.338,4.329),(39,4.35),(39,4.15),(38.476,4.137),(38.11,4.11),(37.444,4.02),(36.852,3.884),(36.491,3.772),(36.154,3.646),(35.685,3.435),(35.247,3.203),(33.994,2.454),(33.481,2.174),(33.004,1.953),(32.573,1.788),(32.007,1.623),(31.373,1.497),(30.662,1.421)],
  [(39,-2.85),(38.338,-2.829),(37.627,-2.753),(36.993,-2.627),(36.427,-2.462),(35.996,-2.297),(35.519,-2.076),(35.006,-1.796),(33.753,-1.047),(33.315,-0.815),(32.846,-0.604),(32.509,-0.478),(32.148,-0.366),(31.556,-0.23),(30.89,-0.14),(30.524,-0.113),(30,-0.1),(30,0.1),(30.662,0.079),(31.373,0.003),(32.007,-0.123),(32.573,-0.288),(33.004,-0.453),(33.481,-0.674),(33.994,-0.954),(35.247,-1.703),(35.685,-1.935),(36.154,-2.146),(36.491,-2.272),(36.852,-2.384),(37.444,-2.52),(38.11,-2.61),(38.476,-2.637),(39,-2.65)])

coupler = lib.new_cell('coupler')
R(coupler, coupler_mk, [(5.48,-19.18,53.48,-11.68), (15.127,-4.771,45.127,0.729), (22.132,10.058,35.132,13.558)])
coupler.add(gdstk.Reference(coupler_1, (20.127,-2.521)))
coupler.add(gdstk.Reference(coupler_2, (26.132,11.433)))
coupler.add(gdstk.Reference(coupler_4, (14.48,-16.18)))

lib.write_gds('coupler.gds')
